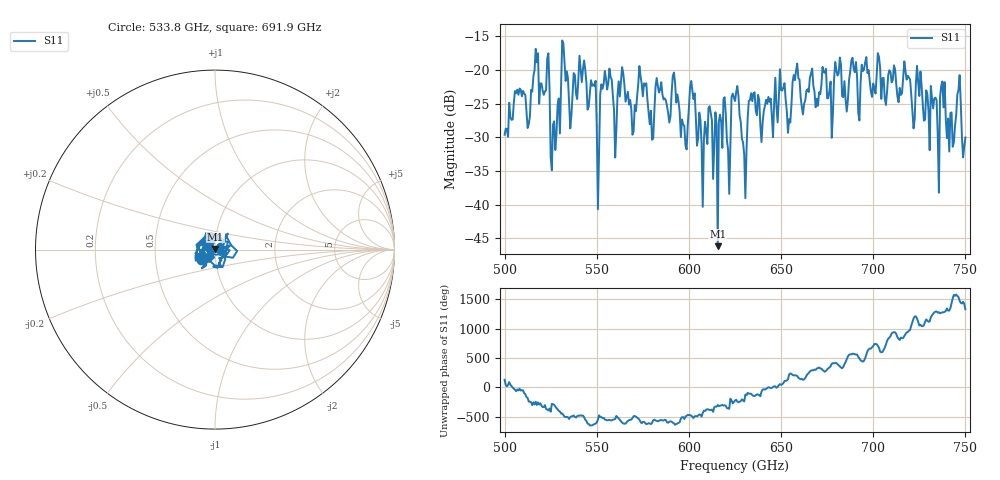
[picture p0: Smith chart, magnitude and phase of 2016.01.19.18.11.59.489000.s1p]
!Created with skrf (http://scikit-rf.org).
# GHz S RI R 50.0
!freq ReS11 ImS11
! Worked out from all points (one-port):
!   401 points, 500 GHz to 750 GHz, reference 50 ohm
!   lowest |S11| = -46.2 dB at 615.6 GHz (marker M1), VSWR 1.01, Z = 50.3 + j0.414 ohm
!   |S11| at or under -10 dB: start of sweep to end of sweep
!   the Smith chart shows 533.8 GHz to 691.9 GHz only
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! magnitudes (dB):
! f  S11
! 500 GHz  -29.6
! 506.9 GHz  -22.9
! 513.1 GHz  -28.0
! 516.9 GHz  -16.9
! 523.1 GHz  -18.3
! 526.2 GHz  -28.1
! 531.2 GHz  -15.6
! 548.1 GHz  -22.1
! 551.2 GHz  -31.7
! 553.8 GHz  -22.1
! 560 GHz  -33.0
! 562.5 GHz  -23.9
! 570 GHz  -29.1
! 574.4 GHz  -22.0
! 579.4 GHz  -26.0
! 583.1 GHz  -22.4
! 593.8 GHz  -23.6
! 615.6 GHz  -46.2
! 621.2 GHz  -31.8
! 625 GHz  -24.6
! 630 GHz  -32.6
! 634.4 GHz  -24.6
! 656.2 GHz  -21.8
! 687.5 GHz  -20.3
! 718.8 GHz  -20.9
! 742.5 GHz  -26.3
! 746.2 GHz  -22.9
! 750 GHz  -30.0
